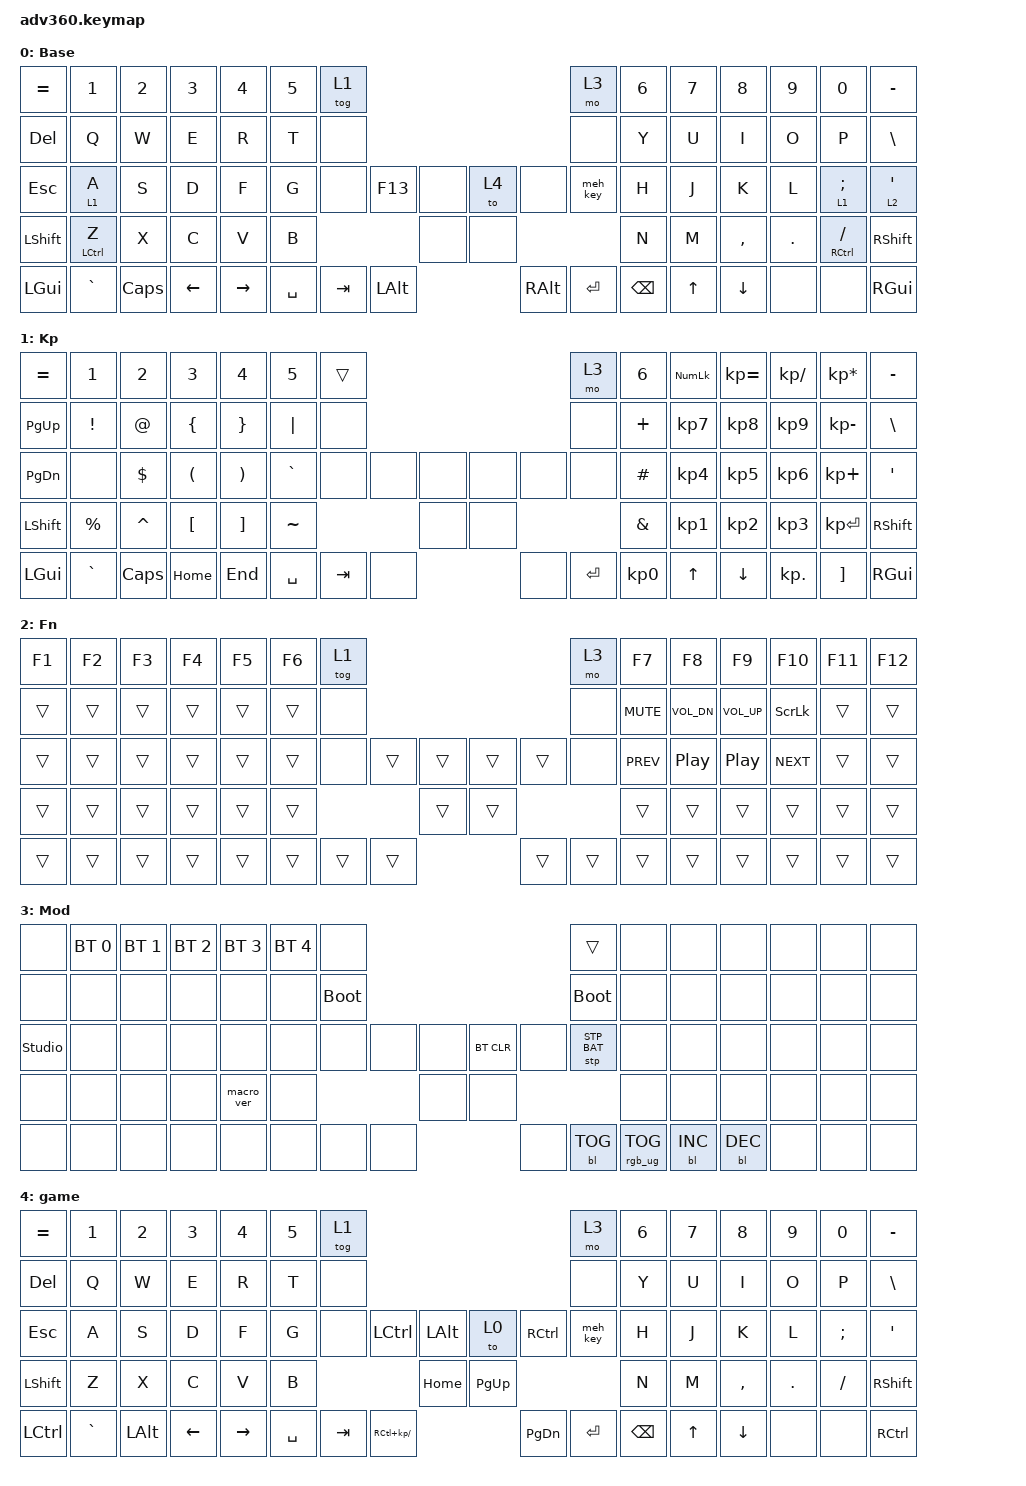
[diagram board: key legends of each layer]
#include <behaviors.dtsi>
#include <dt-bindings/zmk/keys.h>
#include <dt-bindings/zmk/bt.h>
#include <dt-bindings/zmk/rgb.h>
#include <dt-bindings/zmk/stp.h>
#include <dt-bindings/zmk/backlight.h>
#include <dt-bindings/zmk/pointing.h>

/ {
  behaviors {
    #include "macros.dtsi"
    #include "version.dtsi"
    #ifndef VERSION_MACRO
    macro_ver: macro_ver {
      compatible = "zmk,behavior-macro";
      label = "macro_version";
      #binding-cells = <0>;
      bindings = <&kp RET>;
    };
    #endif

    hm: homerow_mods {
        compatible = "zmk,behavior-hold-tap";
        label = "HOMEROW_MODS";
        #binding-cells = <2>;
        tapping-term-ms = <200>;
        quick_tap_ms = <175>;
        flavor = "tap-preferred";
        bindings = <&kp>, <&kp>;
    };
  };

  macros {
    meh_key: meh_key {
      compatible = "zmk,behavior-macro";
      #binding-cells = <0>;
      bindings
        = <&macro_press &kp LSHIFT &kp LALT &kp LCTRL>
        , <&macro_pause_for_release>
        , <&macro_release &kp LSHIFT &kp LALT &kp LCTRL>
        ;
    };
  };

  keymap {
    compatible = "zmk,keymap";

    default_layer {
      display-name = "Base";
      bindings = <
        &kp EQUAL &kp N1      &kp N2   &kp N3   &kp N4     &kp N5 &tog 1                                                        &mo 3    &kp N6 &kp N7 &kp N8    &kp N9   &kp N0         &kp MINUS
        &kp DEL   &kp Q       &kp W    &kp E    &kp R      &kp T  &none                                                         &none    &kp Y  &kp U  &kp I     &kp O    &kp P          &kp BSLH
        &kp ESC   &lt 1 A     &kp S    &kp D    &kp F      &kp G  &none            &kp F13 &none    &to 4    &none              &meh_key &kp H  &kp J  &kp K     &kp L    &lt 1 SEMI     &lt 2 SQT
        &kp LSHFT &mt LCTRL Z &kp X    &kp C    &kp V      &kp B                           &none    &none                                &kp N  &kp M  &kp COMMA &kp DOT  &mt RCTRL FSLH &kp RSHFT
        &kp LGUI  &kp GRAVE   &kp CAPS &kp LEFT &kp RIGHT                &kp SPACE &kp TAB &kp LALT &kp RALT &kp ENTER &kp BSPC                 &kp UP &kp DOWN  &none    &none          &kp RGUI
      >;
    };
    keypad {
      display-name = "Kp";
      bindings = <
        &kp EQUAL &kp N1    &kp N2    &kp N3   &kp N4   &kp N5    &trans                                                   &mo 3 &kp N6   &kp KP_NUM &kp KP_EQUAL &kp KP_DIVIDE &kp KP_MULTIPLY &kp MINUS
        &kp PG_UP &kp EXCL  &kp AT    &kp LBRC &kp RBRC &kp PIPE  &none                                                    &none &kp PLUS &kp KP_N7  &kp KP_N8    &kp KP_N9     &kp KP_MINUS    &kp BSLH
        &kp PG_DN &none     &kp DLLR  &kp LPAR &kp RPAR &kp GRAVE &none            &none   &none &none &none               &none &kp HASH &kp KP_N4  &kp KP_N5    &kp KP_N6     &kp KP_PLUS     &kp SQT
        &kp LSHFT &kp PRCNT &kp CARET &kp LBKT &kp RBKT &kp TILDE                          &none &none                           &kp AMPS &kp KP_N1  &kp KP_N2    &kp KP_N3     &kp KP_ENTER    &kp RSHFT
        &kp LGUI  &kp GRAVE &kp CAPS  &kp HOME &kp END                   &kp SPACE &kp TAB &none &none &kp ENTER &kp KP_N0                &kp UP     &kp DOWN     &kp KP_DOT    &kp RBKT        &kp RGUI
      >;
    };
    fn {
      display-name = "Fn";
      bindings = <
        &kp F1 &kp F2 &kp F3 &kp F4 &kp F5 &kp F6 &tog 1                                           &mo 3 &kp F7     &kp F8       &kp F9       &kp F10    &kp F11 &kp F12
        &trans &trans &trans &trans &trans &trans  &none                                           &none &kp C_MUTE &kp C_VOL_DN &kp C_VOL_UP &kp SLCK   &trans  &trans
        &trans &trans &trans &trans &trans &trans  &none        &trans &trans &trans &trans        &none &kp C_PREV &kp C_PP     &kp C_PP     &kp C_NEXT &trans  &trans
        &trans &trans &trans &trans &trans &trans                      &trans &trans                     &trans     &trans       &trans       &trans     &trans  &trans
        &trans &trans &trans &trans &trans               &trans &trans &trans &trans &trans &trans                  &trans       &trans       &trans     &trans  &trans
      >;
    };
    mod {
      display-name = "Mod";
      bindings = <
        &none          &bt BT_SEL 0 &bt BT_SEL 1 &bt BT_SEL 2 &bt BT_SEL 3 &bt BT_SEL 4 &none                                                               &trans       &none &none      &none      &none &none &none
        &none          &none        &none        &none        &none        &none        &bootloader                                                         &bootloader  &none &none      &none      &none &none &none
        &studio_unlock &none        &none        &none        &none        &none        &none             &none &none &bt BT_CLR &none                      &stp STP_BAT &none &none      &none      &none &none &none
        &none          &none        &none        &none        &macro_ver   &none                                &none &none                                              &none &none      &none      &none &none &none
        &none          &none        &none        &none        &none                                 &none &none &none &none      &bl BL_TOG &rgb_ug RGB_TOG                    &bl BL_INC &bl BL_DEC &none &none &none
      >;
    }; 
    game {
      bindings = <
        &kp EQUAL &kp N1    &kp N2   &kp N3   &kp N4     &kp N5 &tog 1                                                                    &mo 3 &kp N6 &kp N7 &kp N8    &kp N9  &kp N0   &kp MINUS
        &kp DEL   &kp Q     &kp W    &kp E    &kp R      &kp T  &none                                                                     &none &kp Y  &kp U  &kp I     &kp O   &kp P    &kp BSLH
        &kp ESC   &kp A     &kp S    &kp D    &kp F      &kp G  &none            &kp LCTRL &kp LALT         &to  0    &kp RCTRL        &meh_key &kp H  &kp J  &kp K     &kp L   &kp SEMI &kp SQT
        &kp LSHFT &kp Z     &kp X    &kp C    &kp V      &kp B                             &kp HOME         &kp PG_UP                           &kp N  &kp M  &kp COMMA &kp DOT &kp FSLH &kp RSHFT
        &kp LCTRL &kp GRAVE &kp LALT &kp LEFT &kp RIGHT                &kp SPACE &kp TAB   &kp RC(KP_SLASH) &kp PG_DN &kp ENTER &kp BSPC               &kp UP &kp DOWN  &none   &none    &kp RCTRL
      >;
    };
    extra1 { 
      display-name = "Red";    
      status = "reserved";
    };

    extra2 { 
      display-name = "Purple";    
      status = "reserved";
    };

    extra3 { 
      display-name = "Cyan";    
      status = "reserved";
    };

    extra4 { 
      display-name = "Yellow";    
      status = "reserved";
    };
  };
};
